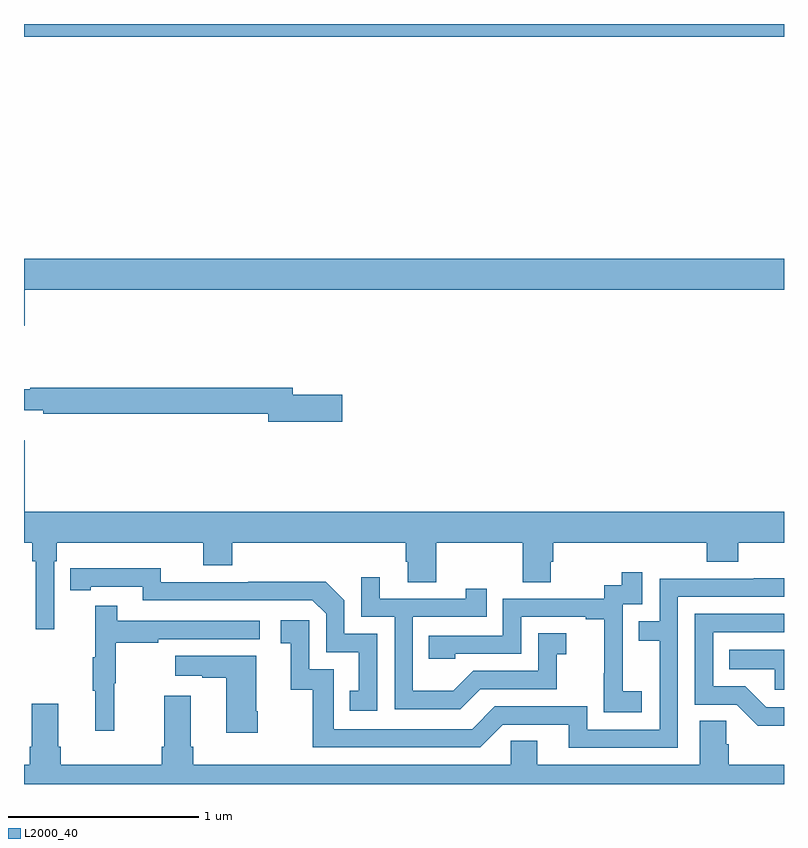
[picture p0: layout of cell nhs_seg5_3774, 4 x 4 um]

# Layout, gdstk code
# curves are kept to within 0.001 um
import gdstk
lib = gdstk.Library(unit=1e-6, precision=1e-09)
def R(c, l, rs):  # rectangles x0, y0, x1, y1
    for r in rs: c.add(gdstk.rectangle(r[:2], r[2:], *l))
def P(c, l, *ps):  # polygons
    for p in ps: c.add(gdstk.Polygon(p, *l))
L2000_40 = (2000, 40)

nhs_seg5_3774 = lib.new_cell('nhs_seg5_3774')
R(nhs_seg5_3774, L2000_40, [(333,884.732,337,884.799)])
P(nhs_seg5_3774, L2000_40, [(333.004,883.4),(337,883.4),(337,883.564),(333,883.564),(333,883.212),(333.004,883.212)],
  [(334.675,882.848),(334.414,882.848),(334.414,882.884),(333.033,882.884),(333.033,882.877),(333,882.877),(333,882.767),(333.1,882.767),(333.1,882.748),(334.286,882.748),(334.286,882.706),(334.675,882.706)],
  [(333.159,881.972),(333.173,881.972),(333.173,882.068),(333.944,882.068),(333.944,881.951),(334.097,881.951),(334.097,882.068),(335.009,882.068),(335.009,881.97),(335.021,881.97),(335.021,881.86),(335.169,881.86),(335.169,882.068),(335.626,882.068),(335.626,881.86),(335.773,881.86),(335.773,881.97),(335.786,881.97),(335.786,882.068),(336.593,882.068),(336.593,881.969),(336.758,881.969),(336.758,882.068),(337,882.068),(337,882.232),(333.004,882.232),(333.004,882.607),(333,882.607),(333,882.068),(333.043,882.068),(333.043,881.972),(333.062,881.972),(333.062,881.613),(333.159,881.613)],
  [(334.86,881.589),(334.686,881.589),(334.686,881.766),(334.588,881.864),(334.18,881.864),(334.18,881.862),(333.72,881.862),(333.72,881.935),(333.244,881.934),(333.244,881.818),(333.352,881.818),(333.352,881.838),(333.624,881.838),(333.624,881.766),(334.518,881.766),(334.59,881.694),(334.59,881.493),(334.763,881.493),(334.763,881.289),(334.714,881.289),(334.714,881.184),(334.86,881.184)],
  [(336.25,881.287),(336.152,881.287),(336.152,881.516),(336.15,881.516),(336.15,881.745),(336.255,881.745),(336.255,881.914),(336.147,881.914),(336.147,881.844),(336.054,881.844),(336.054,881.775),(335.52,881.775),(335.52,881.58),(335.131,881.58),(335.131,881.457),(335.271,881.457),(335.271,881.484),(335.616,881.484),(335.616,881.679),(335.957,881.679),(335.957,881.667),(336.053,881.667),(336.053,881.383),(336.052,881.383),(336.052,881.177),(336.25,881.177)],
  [(335.401,881.298),(335.805,881.298),(335.805,881.483),(335.854,881.483),(335.854,881.593),(335.706,881.593),(335.706,881.394),(335.364,881.394),(335.26,881.29),(335.046,881.29),(335.046,881.679),(335.435,881.679),(335.435,881.827),(335.324,881.827),(335.324,881.775),(334.873,881.775),(334.873,881.887),(334.776,881.887),(334.776,881.679),(334.95,881.679),(334.95,881.193),(335.296,881.193)],
  [(336.441,881.784),(337,881.784),(337,881.882),(336.841,881.882),(336.841,881.88),(336.345,881.88),(336.345,881.655),(336.235,881.655),(336.235,881.554),(336.345,881.554),(336.345,881.085),(335.964,881.085),(335.964,881.208),(335.478,881.208),(335.358,881.088),(334.629,881.088),(334.629,881.403),(334.5,881.403),(334.5,881.662),(334.35,881.662),(334.35,881.541),(334.403,881.541),(334.403,881.295),(334.521,881.295),(334.521,880.992),(335.4,880.992),(335.52,881.112),(335.867,881.112),(335.867,880.989),(336.441,880.989)],
  [(333.476,881.328),(333.484,881.328),(333.484,881.542),(333.707,881.542),(333.707,881.562),(334.24,881.562),(334.24,881.658),(333.491,881.658),(333.491,881.737),(333.374,881.737),(333.374,881.465),(333.363,881.465),(333.363,881.291),(333.374,881.291),(333.374,881.079),(333.476,881.079)],
  [(337,881.202),(336.907,881.202),(336.796,881.313),(336.627,881.313),(336.627,881.598),(337,881.598),(337,881.694),(336.531,881.694),(336.531,881.217),(336.75,881.217),(336.863,881.105),(337,881.105)],
  [(337,881.506),(336.712,881.506),(336.712,881.402),(336.951,881.402),(336.951,881.294),(337,881.294)],
  [(334.23,881.182),(334.222,881.182),(334.222,881.473),(333.795,881.473),(333.795,881.369),(333.938,881.369),(333.938,881.359),(334.064,881.359),(334.064,881.07),(334.23,881.07)],
  [(337,880.9),(336.71,880.9),(336.71,881.009),(336.696,881.009),(336.696,881.132),(336.557,881.132),(336.557,880.9),(335.701,880.9),(335.701,881.027),(335.562,881.027),(335.562,880.9),(333.89,880.9),(333.89,880.996),(333.877,880.996),(333.877,881.263),(333.737,881.263),(333.737,880.996),(333.725,880.996),(333.725,880.9),(333.194,880.9),(333.194,880.996),(333.181,880.996),(333.181,881.221),(333.041,881.221),(333.041,880.996),(333.029,880.996),(333.029,880.9),(333,880.9),(333,880.799),(337,880.799)])

lib.write_gds('nhs_seg5_3774.gds')
